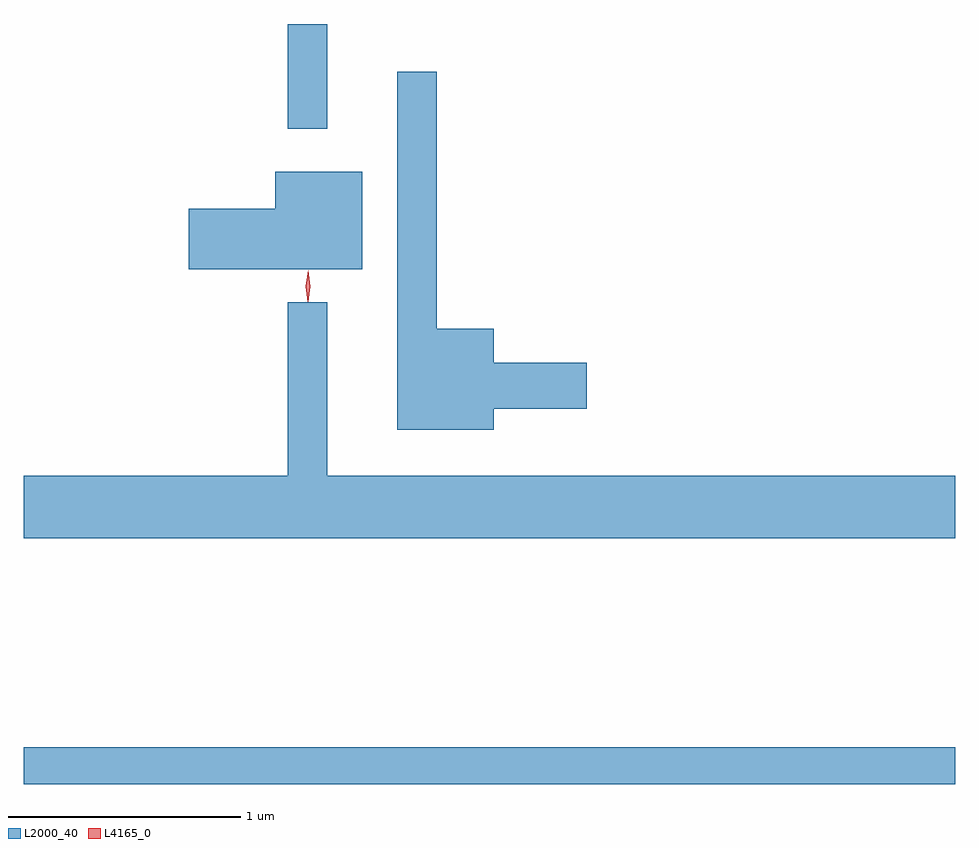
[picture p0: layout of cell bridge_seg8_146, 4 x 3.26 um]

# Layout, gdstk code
import gdstk
lib = gdstk.Library(unit=1e-6, precision=1e-09)
def R(c, l, rs):  # rectangles x0, y0, x1, y1
    for r in rs: c.add(gdstk.rectangle(r[:2], r[2:], *l))
def P(c, l, *ps):  # polygons
    for p in ps: c.add(gdstk.Polygon(p, *l))
L2000_40 = (2000, 40)
L4165_0 = (4165, 0)

bridge_seg8_146 = lib.new_cell('bridge_seg8_146')
R(bridge_seg8_146, L2000_40, [(1680.156,1850.901,1684.156,1851.059), (1681.291,1853.713,1681.459,1854.163)])
P(bridge_seg8_146, L2000_40, [(1682.174,1852.511),(1682.574,1852.511),(1682.574,1852.709),(1682.174,1852.709),(1682.174,1852.854),(1681.929,1852.854),(1681.929,1853.958),(1681.761,1853.958),(1681.761,1852.421),(1682.174,1852.421)],
  [(1681.609,1853.529),(1681.236,1853.529),(1681.236,1853.369),(1680.866,1853.369),(1680.866,1853.111),(1681.609,1853.111)],
  [(1684.156,1852.224),(1681.459,1852.224),(1681.459,1852.968),(1681.291,1852.968),(1681.291,1852.224),(1680.156,1852.224),(1680.156,1851.956),(1684.156,1851.956)])
P(bridge_seg8_146, L4165_0, [(1681.376,1852.973),(1681.376,1852.973),(1681.367,1853.036),(1681.377,1853.099),(1681.378,1853.1),(1681.378,1853.099),(1681.387,1853.036),(1681.377,1852.973)],
  [(1681.376,1852.97),(1681.376,1852.97),(1681.367,1853.038),(1681.377,1853.106),(1681.378,1853.106),(1681.378,1853.106),(1681.387,1853.038),(1681.377,1852.97)])

lib.write_gds('bridge_seg8_146.gds')
